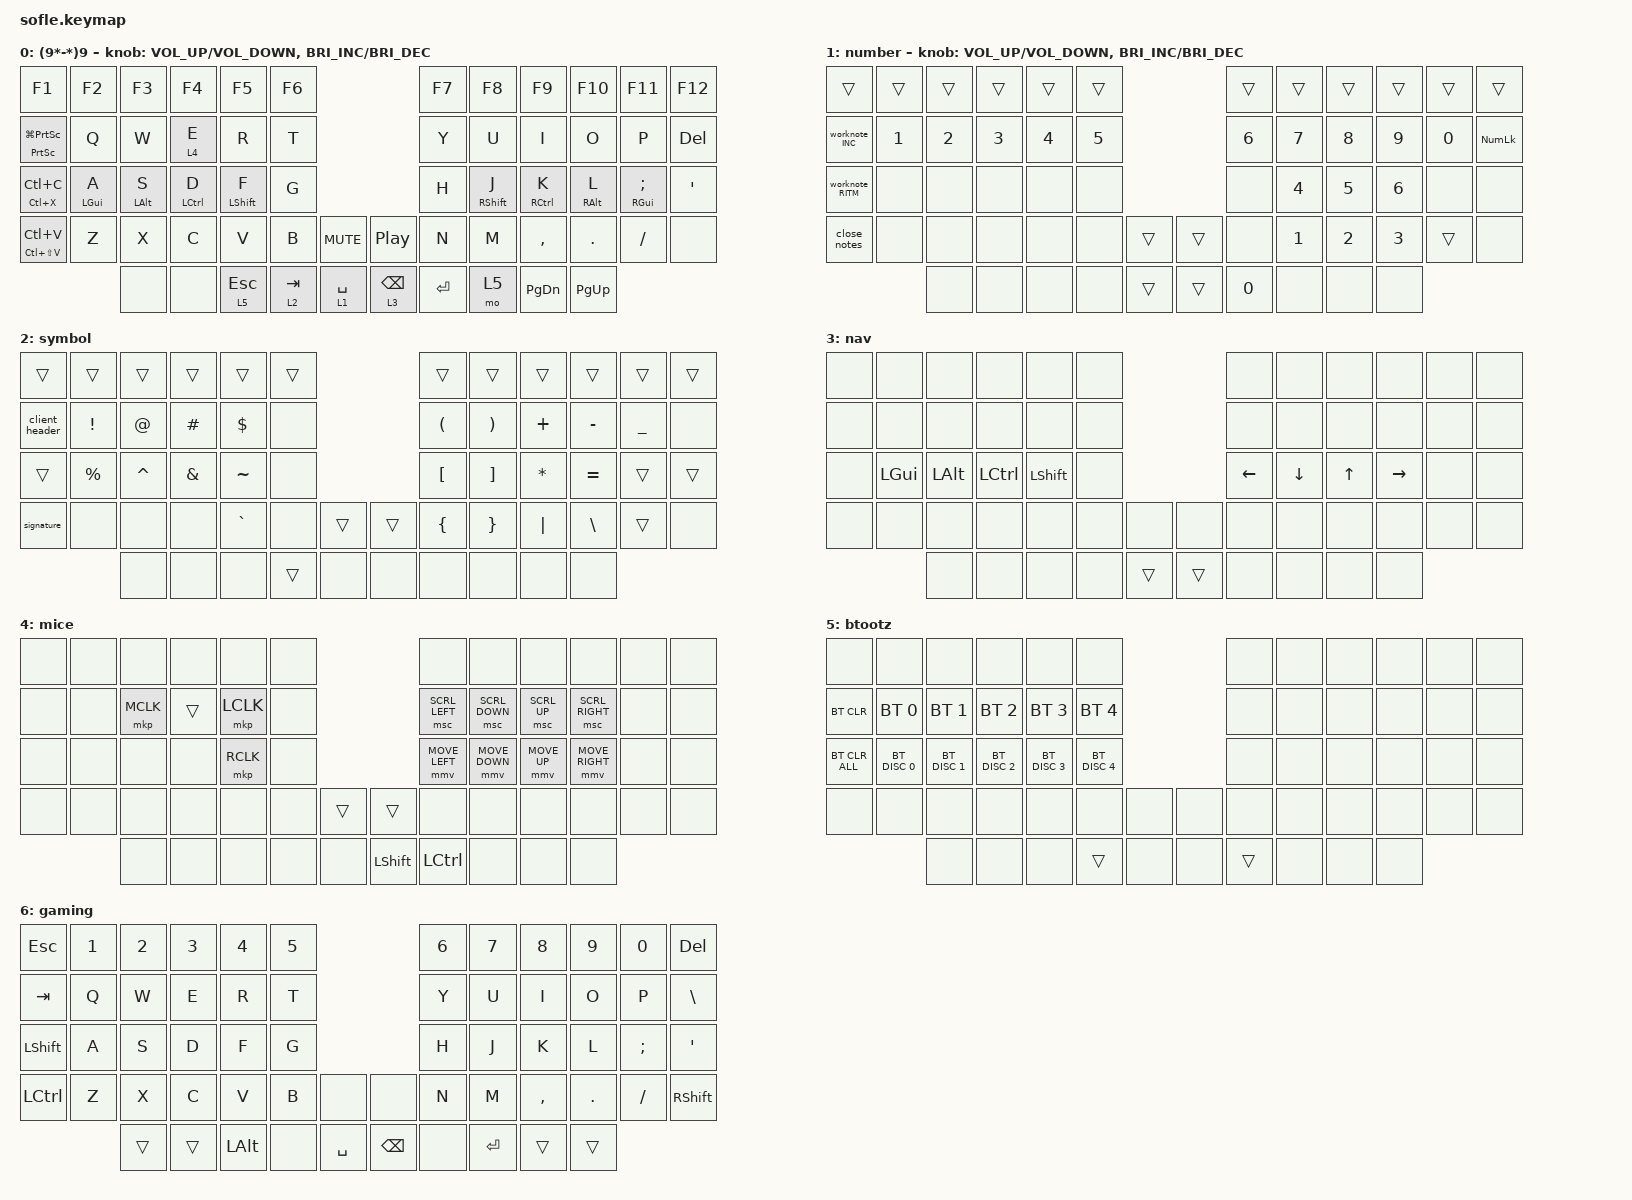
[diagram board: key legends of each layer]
/*
 * Copyright (c) 2020 The ZMK Contributors
 *
 * SPDX-License-Identifier: MIT
 */

#define ZMK_POINTING_DEFAULT_MOVE_VAL 950
#define ZMK_POINTING_DEFAULT_SCRL_VAL 240

#include <behaviors.dtsi>
#include <dt-bindings/zmk/bt.h>
#include <dt-bindings/zmk/keys.h>
#include <dt-bindings/zmk/pointing.h>

#define BASE 0
#define LOWER 1
#define RAISE 2
#define ADJUST 3

&lt {
    tapping-term-ms = <175>;
    flavor = "tap-preferred";
    quick-tap-ms = <175>;
};

&mt {
    quick-tap-ms = <175>;
    tapping-term-ms = <175>;
    flavor = "tap-preferred";
};

/ {
    // Activate ADJUST layer by pressing raise and lower

    conditional_layers { compatible = "zmk,conditional-layers"; };

    combos {
        compatible = "zmk,combos";

        toggle_gaming_layer {
            bindings = <&tog 6>;
            key-positions = <50 51>;
            timeout-ms = <25>;
        };

        capslock {
            bindings = <&kp CAPSLOCK>;
            key-positions = <29 30>;
            timeout-ms = <25>;
        };
    };

    macros {
        worknote_INC: worknote_INC {
            compatible = "zmk,behavior-macro";
            #binding-cells = <0>;
            bindings = <&kp LS(I) &kp S &kp S &kp U &kp E &kp COLON &kp RET &kp MINUS &kp SPACE &kp RET &kp RET &kp LS(A) &kp C &kp T &kp I &kp O &kp N &kp FSLH &kp S &kp SPACE &kp LS(T) &kp A &kp K &kp E &kp N &kp COLON &kp RET &kp MINUS &kp SPACE &kp RET &kp RET &kp LS(P) &kp E &kp N &kp D &kp I &kp N &kp G &kp SPACE &kp LS(A) &kp C &kp T &kp I &kp O &kp N &kp S &kp COLON &kp RET &kp MINUS &kp SPACE>;
            label = "WORKNOTE_INC";
        };

        worknote_RITM: worknote_RITM {
            compatible = "zmk,behavior-macro";
            #binding-cells = <0>;
            bindings = <&kp LS(R) &kp E &kp Q &kp U &kp E &kp S &kp T &kp COLON &kp RET &kp MINUS &kp SPACE &kp RET &kp RET &kp LS(A) &kp C &kp T &kp I &kp O &kp N &kp FSLH &kp S &kp SPACE &kp LS(T) &kp A &kp K &kp E &kp N &kp COLON &kp RET &kp MINUS &kp SPACE &kp RET &kp RET &kp LS(P) &kp E &kp N &kp D &kp I &kp N &kp G &kp SPACE &kp LS(A) &kp C &kp T &kp I &kp O &kp N &kp S &kp COLON &kp RET &kp MINUS &kp SPACE>;
            label = "WORKNOTE_RITM";
        };

        close_notes: close_notes {
            compatible = "zmk,behavior-macro";
            #binding-cells = <0>;
            bindings = <&kp LS(I) &kp S &kp S &kp U &kp E &kp COLON &kp SPACE &kp RET &kp LS(C) &kp A &kp U &kp S &kp E &kp COLON &kp SPACE &kp RET &kp LS(R) &kp E &kp S &kp O &kp L &kp U &kp T &kp I &kp O &kp N &kp COLON &kp SPACE>;
            label = "CLOSE_NOTES";
        };

        client_header: client_header {
            compatible = "zmk,behavior-macro";
            #binding-cells = <0>;
            bindings = <&kp LC(A) &kp LC(X) &kp LS(C) &kp L &kp I &kp E &kp N &kp T &kp SPACE &kp LS(N) &kp A &kp M &kp E &kp SPACE &kp MINUS &kp SPACE &kp LS(L) &kp E &kp A &kp R &kp N &kp SPACE &kp PIPE &kp SPACE &kp LS(E) &kp N &kp V &kp I &kp R &kp O &kp N &kp M &kp E &kp N &kp T &kp SPACE &kp MINUS &kp SPACE &kp LS(L) &kp E &kp A &kp R &kp N &kp ENTER &kp LC(V) &kp ENTER &kp LS(I) &kp S &kp S &kp U &kp E &kp COLON &kp SPACE>;
            label = "CLIENT_HEADER";
        };

        signature: signature {
            compatible = "zmk,behavior-macro";
            #binding-cells = <0>;
            bindings = <&kp LS(B) &kp E &kp S &kp T &kp SPACE &kp R &kp E &kp G &kp A &kp R &kp D &kp S &kp COMMA &kp RET &kp J &kp A &kp N &kp DOT &kp R &kp O &kp E &kp DOT &kp B &kp A &kp N &kp T &kp U &kp A &kp N &kp SPACE &kp MINUS &kp SPACE &kp LS(G) &kp E &kp N &kp LS(W) &kp I &kp Z &kp A &kp R &kp D &kp SPACE &kp LS(L) &kp E &kp A &kp R &kp N &kp SPACE &kp LS(L) &kp N2 &kp SPACE &kp LS(S) &kp U &kp P &kp P &kp O &kp R &kp T>;
            label = "SIGNATURE";
        };
    };

    keymap {
        compatible = "zmk,keymap";

        default_layer {
            label = "(9*-*)9";

            // ------------------------------------------------------------------------------------------------------------
            // |   F1  | F2  |  F3 |  F4  |  F5  |  F6  |                   |  F7  |  F8   |  F9   | F10  |  F11  |  F12  |
            // |  ESC  |  Q  |  W  |  E   |  R   |  T   |                   |  Y   |  U    |  I    |  O   |   P   | BKSPC |
            // |  TAB  |  A  |  S  |  D   |  F   |  G   |                   |  H   |  J    |  K    |  L   |   ;   |   '   |
            // | SHIFT |  Z  |  X  |  C   |  V   |  B   |  MUTE  |  |       |  N   |  M    |  ,    |  .   |   /   | SHIFT |
            //               |  M2 |  M1  | ESC  | TAB  |  BCKSP |  | SPACE | ENTER| M3    | M4    | M5   |

            bindings = <
&kp F1                           &kp F2      &kp F3          &kp F4       &kp F5        &kp F6                                      &kp F7     &kp F8        &kp F9         &kp F10      &kp F11                  &kp F12
&mt PRINTSCREEN LG(PRINTSCREEN)  &kp Q       &kp W           &lt 4 E      &kp R         &kp T                                       &kp Y      &kp U         &kp I          &kp O        &kp P                    &kp DEL
&mt LC(X) LC(C)                  &mt LGUI A  &mt LEFT_ALT S  &mt LCTRL D  &mt LSHIFT F  &kp G                                       &kp H      &mt RSHIFT J  &mt RCTRL K    &mt RALT L   &mt RIGHT_GUI SEMICOLON  &kp SQT
&mt LC(LS(V)) LC(V)              &kp Z       &kp X           &kp C        &kp V         &kp B      &kp C_MUTE     &kp C_PLAY_PAUSE  &kp N      &kp M         &kp COMMA      &kp DOT      &kp FSLH                 &none
                                             &none           &none        &lt 5 ESC     &lt 2 TAB  &lt 1 SPACE    &lt 3 BACKSPACE   &kp ENTER  &mo 5         &kp PAGE_DOWN  &kp PAGE_UP
            >;

            sensor-bindings =
                <&inc_dec_kp C_VOLUME_UP C_VOLUME_DOWN>,
                <&inc_dec_kp C_BRIGHTNESS_INC C_BRIGHTNESS_DEC>;
        };

        number_layer {
            label = "number";

            // TODO: Some binds are waiting for shifted keycode support.
            // ------------------------------------------------------------------------------------------------------------
            // |       |  F1 |  F2 |  F3  |  F4  |  F5  |                   |  F6  |  F7   |  F8   |  F9  |  F10  |  F11  |
            // |   `   |  1  |  2  |  3   |  4   |  5   |                   |  6   |  7    |  8    |  9   |   0   |  F12  |
            // |       |  !  |  @  |  #   |  $   |  %   |                   |  ^   |  &    |  *    |  (   |   )   |   |   |
            // |       |  =  |  -  |  +   |  {   |  }   |        |  |       |  [   |  ]    |  ;    |  :   |   \   |       |
            //               |     |      |      |      |        |  |       |      |       |       |      |

            bindings = <
&trans          &trans        &trans        &trans        &trans        &trans                    &trans        &trans        &trans        &trans        &trans  &trans
&worknote_INC   &kp NUMBER_1  &kp NUMBER_2  &kp NUMBER_3  &kp NUMBER_4  &kp N5                    &kp NUMBER_6  &kp N7        &kp N8        &kp N9        &kp N0  &kp KP_NUMLOCK
&worknote_RITM  &none         &none         &none         &none         &none                     &none         &kp NUMBER_4  &kp N5        &kp NUMBER_6  &none   &none
&close_notes    &none         &none         &none         &none         &none   &trans    &trans  &none         &kp NUMBER_1  &kp NUMBER_2  &kp NUMBER_3  &trans  &none
                              &none         &none         &none         &none   &trans    &trans  &kp NUMBER_0  &none         &none         &none
            >;

            sensor-bindings =
                <&inc_dec_kp C_VOLUME_UP C_VOLUME_DOWN>,
                <&inc_dec_kp C_BRIGHTNESS_INC C_BRIGHTNESS_DEC>;
        };

        symbol_layer {
            label = "symbol";

            // ------------------------------------------------------------------------------------------------------------
            // | BTCLR | BT1  | BT2  |  BT3  |  BT4  |  BT5 |                |      |      |       |      |       |       |
            // |       | INS  | PSCR | GUI   |       |      |                | PGUP |      |   ^   |      |       |       |
            // |       | ALT  | CTRL | SHIFT |       | CAPS |                | PGDN |   <- |   v   |  ->  |  DEL  | BKSPC |
            // |       | UNDO | CUT  | COPY  | PASTE |      |      |  |      |      |      |       |      |       |       |
            //                |      |       |       |      |      |  |      |      |      |       |      |

            bindings = <
&trans          &trans           &trans       &trans         &trans      &trans                    &trans                &trans                 &trans        &trans         &trans          &trans
&client_header  &kp EXCLAMATION  &kp AT_SIGN  &kp HASH       &kp DOLLAR  &none                     &kp LEFT_PARENTHESIS  &kp RIGHT_PARENTHESIS  &kp PLUS      &kp MINUS      &kp UNDERSCORE  &none
&trans          &kp PERCENT      &kp CARET    &kp AMPERSAND  &kp TILDE   &none                     &kp LEFT_BRACKET      &kp RIGHT_BRACKET      &kp ASTERISK  &kp EQUAL      &trans          &trans
&signature      &none            &none        &none          &kp GRAVE   &none   &trans    &trans  &kp LEFT_BRACE        &kp RIGHT_BRACE        &kp PIPE      &kp BACKSLASH  &trans          &none
                                 &none        &none          &none       &trans  &none     &none   &none                 &none                  &none         &none
            >;
        };

        navigation_layer {
            bindings = <
&none  &none         &none         &none      &none           &none                    &none     &none     &none   &none      &none  &none
&none  &none         &none         &none      &none           &none                    &none     &none     &none   &none      &none  &none
&none  &kp LEFT_GUI  &kp LEFT_ALT  &kp LCTRL  &kp LEFT_SHIFT  &none                    &kp LEFT  &kp DOWN  &kp UP  &kp RIGHT  &none  &none
&none  &none         &none         &none      &none           &none  &none     &none   &none     &none     &none   &none      &none  &none
                     &none         &none      &none           &none  &trans    &trans  &none     &none     &none   &none
            >;

            label = "nav";
        };

        mouse_layer {
            bindings = <
&none  &none  &none      &none   &none      &none                            &none           &none           &none         &none            &none  &none
&none  &none  &mkp MCLK  &trans  &mkp LCLK  &none                            &msc SCRL_LEFT  &msc SCRL_DOWN  &msc SCRL_UP  &msc SCRL_RIGHT  &none  &none
&none  &none  &none      &none   &mkp RCLK  &none                            &mmv MOVE_LEFT  &mmv MOVE_DOWN  &mmv MOVE_UP  &mmv MOVE_RIGHT  &none  &none
&none  &none  &none      &none   &none      &none  &trans    &trans          &none           &none           &none         &none            &none  &none
              &none      &none   &none      &none  &none     &kp LEFT_SHIFT  &kp LCTRL       &none           &none         &none
            >;

            label = "mice";
        };

        bt_layer {
            bindings = <
&none           &none          &none          &none          &none          &none                          &none   &none  &none  &none  &none  &none
&bt BT_CLR      &bt BT_SEL 0   &bt BT_SEL 1   &bt BT_SEL 2   &bt BT_SEL 3   &bt BT_SEL 4                   &none   &none  &none  &none  &none  &none
&bt BT_CLR_ALL  &bt BT_DISC 0  &bt BT_DISC 1  &bt BT_DISC 2  &bt BT_DISC 3  &bt BT_DISC 4                  &none   &none  &none  &none  &none  &none
&none           &none          &none          &none          &none          &none          &none    &none  &none   &none  &none  &none  &none  &none
                               &none          &none          &none          &trans         &none    &none  &trans  &none  &none  &none
            >;

            label = "btootz";
        };

        gaming_layer {
            bindings = <
&kp ESC         &kp N1  &kp N2  &kp N3  &kp N4        &kp N5                         &kp N6  &kp N7     &kp N8     &kp N9   &kp N0    &kp DEL
&kp TAB         &kp Q   &kp W   &kp E   &kp R         &kp T                          &kp Y   &kp U      &kp I      &kp O    &kp P     &kp BSLH
&kp LEFT_SHIFT  &kp A   &kp S   &kp D   &kp F         &kp G                          &kp H   &kp J      &kp K      &kp L    &kp SEMI  &kp APOS
&kp LCTRL       &kp Z   &kp X   &kp C   &kp V         &kp B   &none        &none     &kp N   &kp M      &kp COMMA  &kp DOT  &kp FSLH  &kp RSHFT
                        &trans  &trans  &kp LEFT_ALT  &none   &kp SPACE    &kp BSPC  &none   &kp ENTER  &trans     &trans
            >;

            label = "gaming";
        };
    };
};
